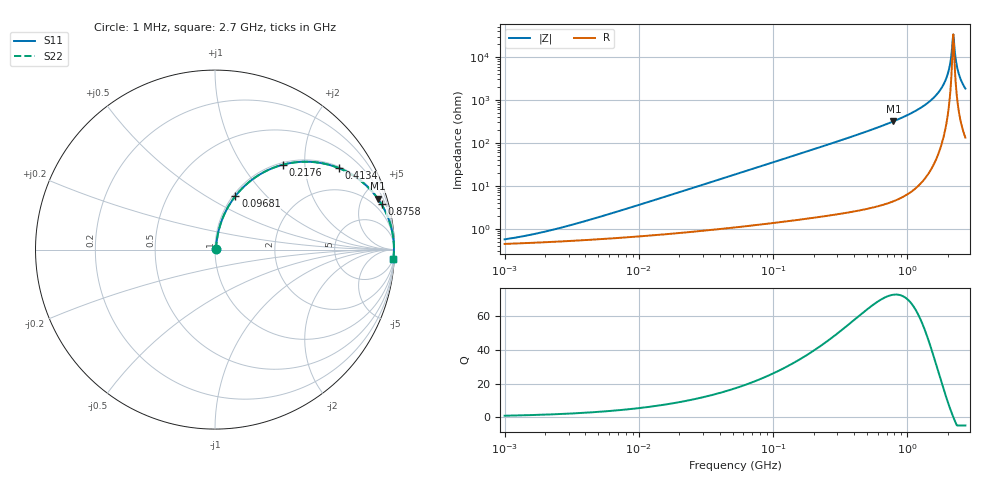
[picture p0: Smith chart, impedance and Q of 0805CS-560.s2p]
# MHz S MA R 50
!Freq  MagS11  AngS11  MagS21  AngS21  MagS12  AngS12  MagS22  AngS22
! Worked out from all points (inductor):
!   801 points, 1 MHz to 2.7 GHz, reference 50 ohm
!   read as one part in series: L = 56 nH near 4.808 MHz
!   highest Q = 73 at 785.6 MHz (marker M1), where L = 64.2 nH
!   self-resonance near 2.173 GHz
!   S11 on the Smith chart (normalised r, x): 1 MHz: 1.01, +0.01; 96.81 MHz: 1.03, +0.68; 217.6 MHz: 1.04, +1.55; 413.4 MHz: 1.05, +3.02; 875.8 MHz: 1.10, +7.33; 2.7 GHz: 4, -37
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1  0.005617 38.4  0.9956 -0.2  0.9956 -0.2  0.005617 38.4
3.756241  0.01418 67.2  0.9946 -0.8  0.9946 -0.8  0.01418 67.2
13.97068  0.04927 78.9  0.9917 -2.8  0.9917 -2.8  0.04927 78.9
52.47725  0.1801 76.3  0.9733 -10.4  0.9733 -10.4  0.1801 76.3
96.80589  0.3194 69.1  0.9352 -18.6  0.9352 -18.6  0.3194 69.1
195.18  0.5626 54.3  0.8124 -34.2  0.8124 -34.2  0.5626 54.3
217.5788  0.6048 51.4  0.782 -37.2  0.782 -37.2  0.6048 51.4
413.4423  0.827 33.2  0.5483 -55.8  0.5483 -55.8  0.827 33.2
725.938  0.9402 19.1  0.3278 -70.1  0.3278 -70.1  0.9402 19.1
785.6212  0.95 17.4  0.2996 -71.8  0.2996 -71.8  0.95 17.4
875.7788  0.9614 15.2  0.2623 -74.0  0.2623 -74.0  0.9614 15.2
1325.992  0.9884 7.7  0.1345 -81.2  0.1345 -81.2  0.9884 7.7
1714.195  0.9954 3.7  0.06431 -84.1  0.06431 -84.1  0.9954 3.7
1968.381  0.9969 1.6  0.02819 -82.9  0.02819 -82.9  0.9969 1.6
2047.699  0.9971 1.0  0.01804 -80.1  0.01804 -80.1  0.9971 1.0
2130.212  0.9971 0.4  0.008135 -68.8  0.008135 -68.8  0.9971 0.4
2194.272  0.997 -0.0  0.002968 0.9  0.002968 0.9  0.997 -0.0
2260.258  0.9969 -0.4  0.008284 67.8  0.008284 67.8  0.9969 -0.4
2351.337  0.9966 -1.0  0.01819 78.8  0.01819 78.8  0.9966 -1.0
2422.047  0.9963 -1.5  0.02579 81.1  0.02579 81.1  0.9963 -1.5
2569.909  0.9956 -2.3  0.04111 82.6  0.04111 82.6  0.9956 -2.3
2700  0.9947 -3.1  0.05399 82.8  0.05399 82.8  0.9947 -3.1
